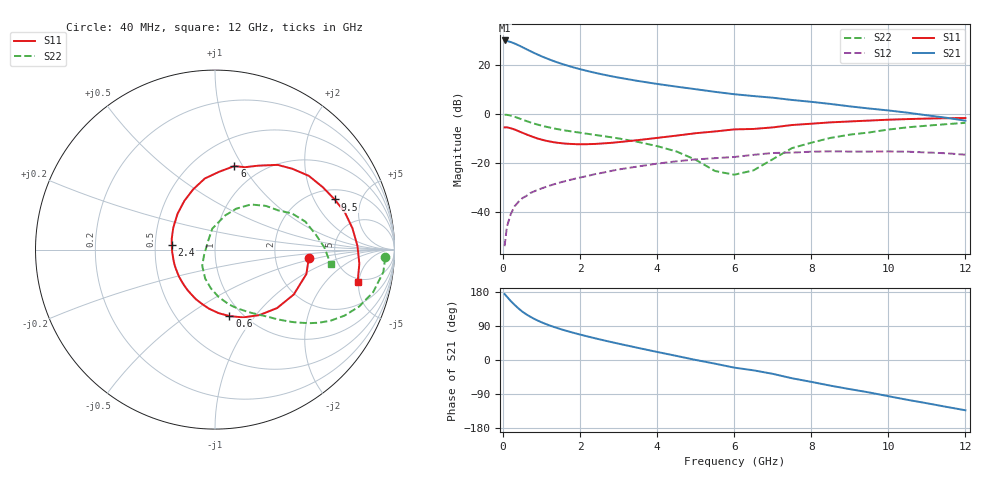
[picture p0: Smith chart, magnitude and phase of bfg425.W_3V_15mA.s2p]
! Filename: 315bfg425.001
! BFG425W Field C1
! V1=8.465E-001V,V2=3.000E+000V, I1=1.942E-004A, I2=1.497E-002A
# GHz  S  MA  R 50
!  S11  S21  S12  S22
!Freq(GHz)  Mag  Ang  Mag  Ang  Mag  Ang  Mag  Ang
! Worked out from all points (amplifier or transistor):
!   44 points, 40 MHz to 12 GHz, reference 50 ohm
!   highest |S21| = 29.8 dB at 40 MHz (marker M1)
!   |S21| within 3 dB of that: start of sweep to 535.4 MHz
!   unconditionally stable (mu >= 1): 1.588 GHz to end of sweep
!   at 700 MHz: K = 0.65, MSG = 29.0 dB, |S12| = -32.4 dB
!   at 2.4 GHz: K = 1.13, MAG = 18.4 dB, |S12| = -24.6 dB
!   at 12 GHz: K = 1.36, MAG = 3.3 dB, |S12| = -16.7 dB
!   S11 on the Smith chart (normalised r, x): 40 MHz: 3.15, -0.41; 600 MHz: 0.87, -0.75; 2.4 GHz: 0.61, +0.03; 6 GHz: 0.76, +0.92; 9.5 GHz: 2.53, +2.96; 12 GHz: 4.49, -4.83
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0.04  0.525 -5.1  30.97 174.0  0.002 63.1  0.95 -2.6
0.1  0.527 -15.0  30.17 167.1  0.005 82.1  0.946 -7.6
0.2  0.505 -29.8  28.76 155.6  0.009 75.6  0.912 -15.1
0.3  0.475 -43.3  26.82 145.4  0.013 70.9  0.863 -21.6
0.4  0.441 -55.8  24.73 136.1  0.016 67.3  0.81 -27.0
0.5  0.409 -67.5  22.65 127.7  0.019 63.8  0.758 -31.4
0.6  0.379 -77.7  20.66 120.7  0.021 61.6  0.71 -35.0
0.8  0.331 -95.7  17.32 109.0  0.026 58.2  0.629 -40.4
0.9  0.311 -103.6  15.95 104.0  0.028 57.2  0.598 -42.6
1  0.296 -111.1  14.73 99.5  0.03 56.3  0.57 -44.5
1.2  0.272 -124.5  12.72 91.5  0.034 54.7  0.524 -47.9
1.6  0.246 -148.3  9.903 78.3  0.042 52.2  0.456 -53.8
2.2  0.239 -177.1  7.356 62.0  0.054 47.3  0.388 -62.8
2.4  0.242 174.4  6.764 57.0  0.059 45.5  0.368 -65.9
3.5  0.289 136.2  4.637 32.0  0.084 32.6  0.266 -85.4
4.5  0.357 110.0  3.55 10.8  0.107 18.5  0.17 -108.8
6  0.478 76.9  2.488 -20.1  0.131 -5.6  0.057 135.6
6.5  0.488 70.2  2.284 -27.2  0.145 -8.6  0.07 118.9
8.5  0.665 38.2  1.576 -67.8  0.171 -45.6  0.321 51.5
9.5  0.723 22.7  1.274 -85.6  0.169 -62.3  0.414 31.9
10.5  0.775 8.8  1.047 -105.1  0.168 -81.0  0.527 17.2
12  0.815 -12.8  0.719 -132.7  0.146 -111.1  0.65 -7.3
